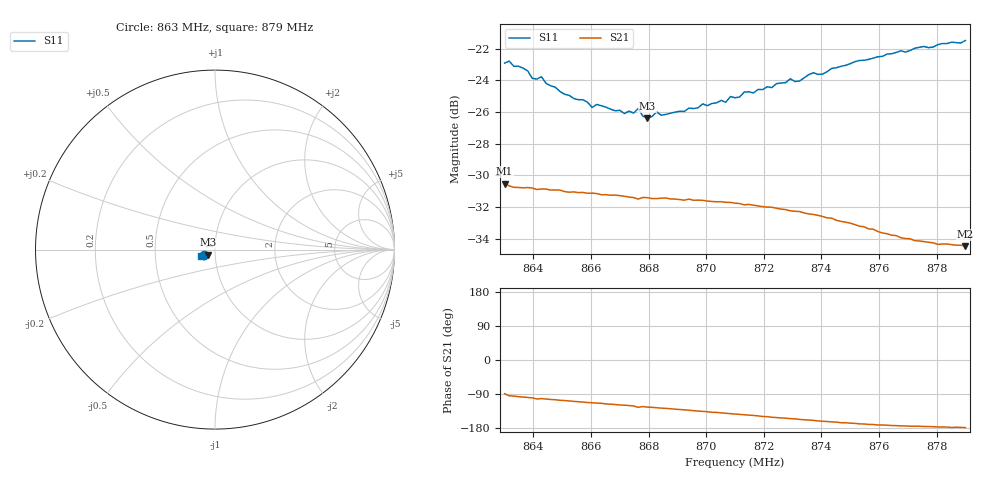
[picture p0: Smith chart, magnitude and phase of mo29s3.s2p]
# HZ S RI R 50
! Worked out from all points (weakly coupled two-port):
!   101 points, 863 MHz to 879 MHz, reference 50 ohm
!   highest |S21| = -30.52 dB at 863 MHz (marker M1); lowest = -34.5 dB at 879 MHz (marker M2)
!   lowest |S11| = -26.4 dB at 867.96 MHz (marker M3), VSWR 1.10, Z = 46.3 - j2.7 ohm
!   |S11| at or under -10 dB: start of sweep to end of sweep
!   S12 and S22 are empty: the file has one direction only
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8.63e8  -0.0637 -0.0325  0.000533 -0.0298  0 0  0 0
8.6316e8  -0.0668 -0.0285  -0.00224 -0.0292  0 0  0 0
8.638e8  -0.0613 -0.0286  -0.00445 -0.0286  0 0  0 0
8.6396e8  -0.0584 -0.0262  -0.00492 -0.0284  0 0  0 0
8.6428e8  -0.0581 -0.0286  -0.00585 -0.028  0 0  0 0
8.6444e8  -0.0562 -0.0255  -0.00646 -0.0279  0 0  0 0
8.6508e8  -0.0511 -0.0253  -0.00817 -0.0269  0 0  0 0
8.6572e8  -0.0473 -0.0276  -0.01 -0.0261  0 0  0 0
8.6604e8  -0.0448 -0.0261  -0.0108 -0.0256  0 0  0 0
8.662e8  -0.0453 -0.0274  -0.0111 -0.0254  0 0  0 0
8.6716e8  -0.0407 -0.0283  -0.0132 -0.0237  0 0  0 0
8.6764e8  -0.042 -0.0297  -0.0152 -0.0218  0 0  0 0
8.6796e8  -0.038 -0.0291  -0.0151 -0.0222  0 0  0 0
8.6828e8  -0.0382 -0.0325  -0.0157 -0.0216  0 0  0 0
8.6844e8  -0.0371 -0.032  -0.0161 -0.0214  0 0  0 0
8.71e8  -0.0382 -0.0404  -0.0205 -0.0157  0 0  0 0
8.7292e8  -0.0447 -0.0455  -0.0221 -0.0104  0 0  0 0
8.7324e8  -0.0444 -0.0444  -0.0223 -0.0096  0 0  0 0
8.7372e8  -0.0469 -0.0475  -0.0222 -0.0084  0 0  0 0
8.7404e8  -0.0477 -0.0457  -0.0222 -0.00739  0 0  0 0
8.7644e8  -0.0625 -0.0442  -0.0203 -0.00254  0 0  0 0
8.79e8  -0.0775 -0.0333  -0.0189 -0.000536  0 0  0 0
